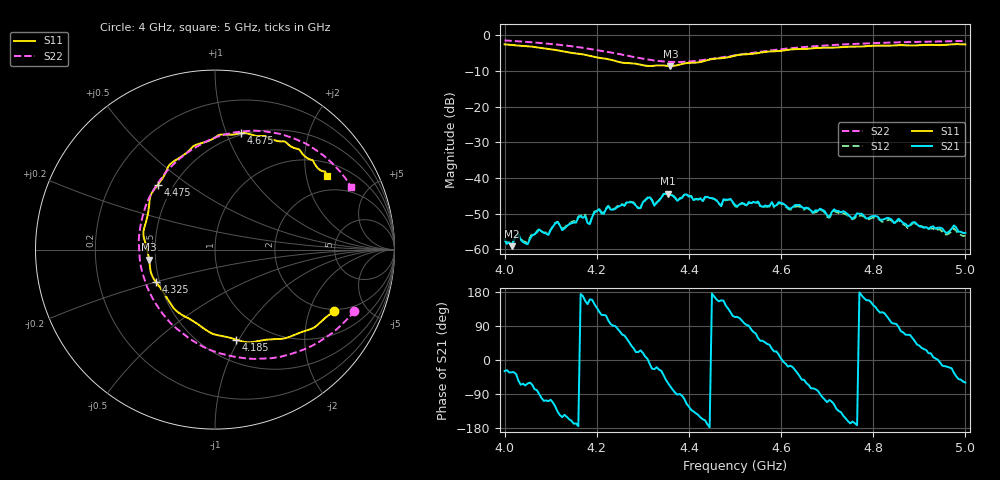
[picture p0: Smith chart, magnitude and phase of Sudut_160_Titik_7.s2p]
# Hz S RI R 50
! CMT, C1220, 16058040, 17.2.0/1
! Date: 15/08/2018 12:02:51
! Data: Format (Calibration Info)
! Freq  S11: Re/Im (F2)  S21: Re/Im (F2)  S12: Re/Im (F2)  S22: Re/Im (F2)
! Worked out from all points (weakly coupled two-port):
!   201 points, 4 GHz to 5 GHz, reference 50 ohm
!   highest |S21| = -44.42 dB at 4.355 GHz (marker M1); lowest = -59.2 dB at 4.015 GHz (marker M2)
!   lowest |S11| = -8.6 dB at 4.36 GHz (marker M3), VSWR 2.18, Z = 23 - j3.02 ohm
!   |S11| at or under -10 dB: nowhere
!   |S22| runs from -7.5 to -1.4 dB; largest |S21 - S12| = 0.00024
!   S11 on the Smith chart (normalised r, x): 4 GHz: 1.91, -2.99; 4.185 GHz: 0.71, -0.98; 4.325 GHz: 0.48, -0.20; 4.475 GHz: 0.41, +0.38; 4.675 GHz: 0.48, +1.12; 5 GHz: 1.42, +2.65
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4e9  0.6654 -0.3433  0.00117 -0.000657  0.00128 -0.000595  0.7772 -0.3406
4.015e9  0.6382 -0.3622  0.000931 -0.000589  0.000951 -0.000592  0.7494 -0.3739
4.03e9  0.6044 -0.3891  0.000937 -0.00132  0.00103 -0.00127  0.7192 -0.4052
4.05e9  0.559 -0.4296  0.000551 -0.00104  0.0006 -0.00108  0.6743 -0.4471
4.075e9  0.4942 -0.4556  1.66e-05 -0.00189  8.7e-05 -0.00194  0.6091 -0.4946
4.095e9  0.429 -0.4806  -0.000505 -0.0015  -0.000426 -0.00156  0.5534 -0.5292
4.115e9  0.3656 -0.4976  -0.00174 -0.00168  -0.00171 -0.0017  0.4866 -0.5597
4.17e9  0.1681 -0.5152  -0.0027 0.00055  -0.00278 0.000532  0.2809 -0.6066
4.185e9  0.1198 -0.5019  -0.00211 0.000768  -0.00217 0.000788  0.2179 -0.609
4.225e9  -0.0273 -0.4624  -0.000995 0.00388  -0.000986 0.00394  0.0438 -0.5827
4.295e9  -0.2513 -0.2951  0.00341 0.00163  0.00345 0.00164  -0.2476 -0.4099
4.315e9  -0.3022 -0.2169  0.00526 -0.000983  0.00538 -0.00107  -0.3108 -0.3308
4.325e9  -0.3287 -0.1814  0.00372 -0.00168  0.00376 -0.00175  -0.3382 -0.2879
4.335e9  -0.3489 -0.1488  0.00435 -0.00207  0.00429 -0.0022  -0.3627 -0.2416
4.355e9  -0.3638 -0.0783  0.00285 -0.00529  0.00282 -0.00535  -0.4002 -0.1436
4.36e9  -0.3673 -0.0565  0.00196 -0.00543  0.00194 -0.00544  -0.4069 -0.1194
4.475e9  -0.3195 0.36  -0.00459 0.002  -0.00447 0.00213  -0.3031 0.3917
4.5e9  -0.2679 0.4454  -0.00166 0.00383  -0.00161 0.00368  -0.2394 0.4678
4.67e9  0.1331 0.6465  0.000851 -0.00316  0.000787 -0.00308  0.2367 0.6619
4.675e9  0.1434 0.649  0.000784 -0.00343  0.000707 -0.00326  0.2494 0.6613
4.835e9  0.4377 0.567  -0.000772 0.0026  -0.000839 0.00245  0.573 0.5472
5e9  0.6235 0.4118  0.000865 -0.00146  0.000808 -0.00132  0.7579 0.3507
